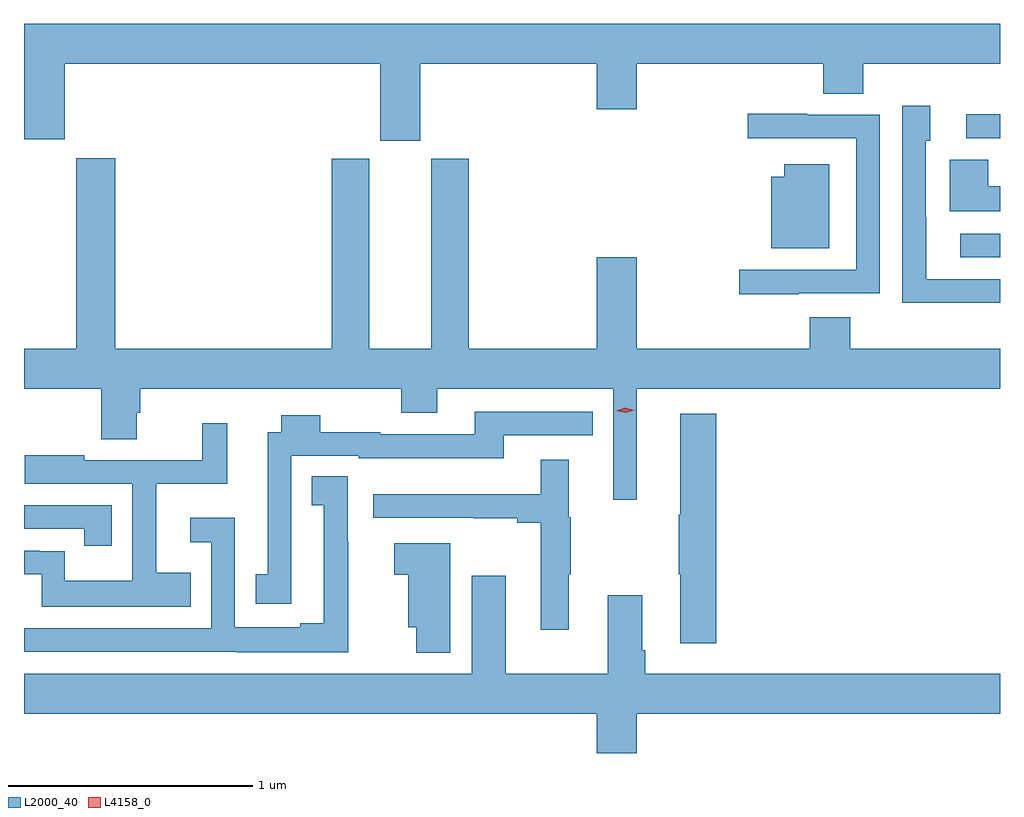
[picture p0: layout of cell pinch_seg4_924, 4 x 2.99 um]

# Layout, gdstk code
import gdstk
lib = gdstk.Library(unit=1e-6, precision=1e-09)
def R(c, l, rs):  # rectangles x0, y0, x1, y1
    for r in rs: c.add(gdstk.rectangle(r[:2], r[2:], *l))
def P(c, l, *ps):  # polygons
    for p in ps: c.add(gdstk.Polygon(p, *l))
L2000_40 = (2000, 40)
L4158_0 = (4158, 0)

pinch_seg4_924 = lib.new_cell('pinch_seg4_924')
R(pinch_seg4_924, L2000_40, [(646.017,794.694,646.18,794.79), (646.041,795.183,646.18,795.281)])
P(pinch_seg4_924, L2000_40, [(643.804,795.488),(644.528,795.488),(644.528,795.3),(644.692,795.3),(644.692,795.488),(645.455,795.488),(645.455,795.364),(645.62,795.364),(645.62,795.488),(646.18,795.488),(646.18,795.652),(642.18,795.652),(642.18,795.179),(642.346,795.179),(642.346,795.488),(643.64,795.488),(643.64,795.171),(643.804,795.171)],
  [(646.18,794.604),(645.877,794.604),(645.877,794.858),(645.876,794.858),(645.876,795.171),(645.895,795.171),(645.895,795.316),(645.78,795.316),(645.78,794.507),(646.18,794.507)],
  [(645.355,794.547),(645.687,794.547),(645.687,795.279),(645.391,795.279),(645.391,795.283),(645.147,795.283),(645.147,795.183),(645.591,795.183),(645.591,794.643),(645.111,794.643),(645.111,794.543),(645.355,794.543)],
  [(644.692,794.156),(646.18,794.156),(646.18,794.32),(645.566,794.32),(645.566,794.449),(645.401,794.449),(645.401,794.32),(644.692,794.32),(644.692,794.695),(644.528,794.695),(644.528,794.32),(644.003,794.32),(644.003,795.099),(643.85,795.099),(643.85,794.32),(643.594,794.32),(643.594,795.099),(643.442,795.099),(643.442,794.32),(642.554,794.32),(642.554,795.1),(642.394,795.1),(642.394,794.32),(642.18,794.32),(642.18,794.156),(642.496,794.156),(642.496,793.948),(642.643,793.948),(642.643,794.058),(642.656,794.058),(642.656,794.156),(643.726,794.156),(643.726,794.057),(643.873,794.057),(643.873,794.156),(644.595,794.156),(644.595,793.701),(644.692,793.701)],
  [(646.18,794.986),(646.132,794.986),(646.132,795.094),(645.974,795.094),(645.974,794.882),(646.18,794.882)],
  [(645.481,795.076),(645.296,795.076),(645.296,795.025),(645.242,795.025),(645.242,794.732),(645.481,794.732)],
  [(643.276,793.598),(643.275,793.598),(643.275,793.881),(643.551,793.881),(643.551,793.871),(644.146,793.871),(644.146,793.965),(644.51,793.965),(644.51,794.061),(644.027,794.061),(644.027,793.968),(643.641,793.968),(643.641,793.978),(643.395,793.978),(643.395,794.047),(643.235,794.047),(643.235,793.977),(643.178,793.977),(643.178,793.395),(643.129,793.395),(643.129,793.275),(643.276,793.275)],
  [(645.017,794.053),(644.87,794.053),(644.87,793.64),(644.863,793.64),(644.863,793.396),(644.87,793.396),(644.87,793.113),(645.017,793.113)],
  [(642.863,793.402),(642.721,793.402),(642.721,793.766),(643.012,793.766),(643.012,794.014),(642.91,794.014),(642.91,793.863),(642.427,793.863),(642.427,793.882),(642.183,793.882),(642.183,793.767),(642.624,793.767),(642.624,793.369),(642.348,793.369),(642.348,793.49),(642.245,793.49),(642.245,793.491),(642.18,793.491),(642.18,793.395),(642.252,793.395),(642.252,793.262),(642.863,793.262)],
  [(644.413,793.396),(644.421,793.396),(644.421,793.629),(644.413,793.629),(644.413,793.864),(644.297,793.864),(644.297,793.723),(643.611,793.723),(643.611,793.626),(644.023,793.626),(644.023,793.624),(644.201,793.624),(644.201,793.606),(644.297,793.606),(644.297,793.167),(644.413,793.167)],
  [(643.509,793.529),(643.506,793.529),(643.506,793.796),(643.36,793.796),(643.36,793.678),(643.409,793.678),(643.409,793.195),(643.313,793.195),(643.313,793.177),(643.044,793.177),(643.044,793.627),(642.861,793.627),(642.861,793.526),(642.948,793.526),(642.948,793.173),(642.18,793.173),(642.18,793.077),(643.051,793.077),(643.051,793.076),(643.509,793.076)],
  [(642.539,793.677),(642.18,793.677),(642.18,793.581),(642.426,793.581),(642.426,793.512),(642.539,793.512)],
  [(643.927,793.522),(643.698,793.522),(643.698,793.393),(643.754,793.393),(643.754,793.178),(643.787,793.178),(643.787,793.073),(643.927,793.073)],
  [(644.692,792.824),(646.18,792.824),(646.18,792.988),(644.726,792.988),(644.726,793.084),(644.713,793.084),(644.713,793.309),(644.573,793.309),(644.573,792.988),(644.155,792.988),(644.155,793.39),(644.015,793.39),(644.015,792.988),(642.18,792.988),(642.18,792.824),(644.528,792.824),(644.528,792.661),(644.692,792.661)])
P(pinch_seg4_924, L4158_0, [(644.644,794.057),(644.608,794.066),(644.608,794.066),(644.608,794.066),(644.644,794.077),(644.68,794.068),(644.68,794.068),(644.68,794.068)])

lib.write_gds('pinch_seg4_924.gds')
